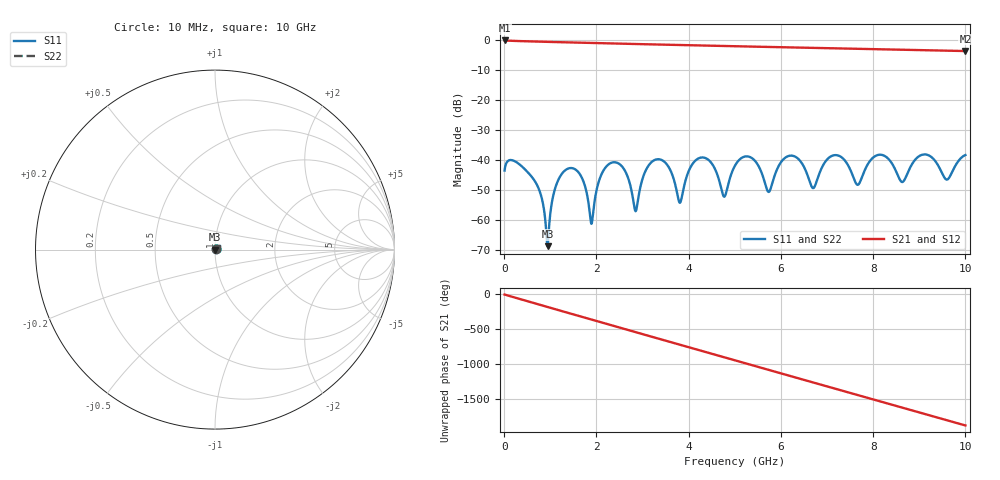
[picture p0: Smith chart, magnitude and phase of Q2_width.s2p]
! Touchstone generated by fitter/viewer
# HZ S  RI R 5.000000e+001
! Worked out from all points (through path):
!   1000 points, 10 MHz to 10 GHz, reference 50 ohm
!   highest |S21| = -0.06 dB at 10 MHz (marker M1); lowest = -3.6 dB at 10 GHz (marker M2)
!   group delay of S21, straight-line fit = 520 ps
!   lowest |S11| = -68.6 dB at 940 MHz (marker M3), VSWR 1.00, Z = 50 + j0.00202 ohm
!   |S11| at or under -10 dB: start of sweep to end of sweep
!   |S22| runs from -68.6 to -38.0 dB; largest |S21 - S12| = 0
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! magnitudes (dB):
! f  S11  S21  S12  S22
! 10 MHz  -43.4  -0.1  -0.1  -43.4
! 650 MHz  -46.6  -0.4  -0.4  -46.6
! 940 MHz  -68.6  -0.5  -0.5  -68.6
! 1.23 GHz  -45.0  -0.6  -0.6  -45.0
! 1.68 GHz  -45.6  -0.8  -0.8  -45.6
! 1.9 GHz  -61.0  -0.9  -0.9  -61.0
! 2.13 GHz  -44.0  -1.0  -1.0  -44.0
! 2.47 GHz  -40.9  -1.1  -1.1  -40.9
! 2.85 GHz  -57.0  -1.2  -1.2  -57.0
! 3.34 GHz  -39.6  -1.4  -1.4  -39.6
! 3.81 GHz  -54.2  -1.6  -1.6  -54.2
! 4.19 GHz  -39.5  -1.7  -1.7  -39.5
! 4.77 GHz  -52.1  -1.9  -1.9  -52.1
! 5.01 GHz  -41.6  -2.0  -2.0  -41.6
! 5.74 GHz  -50.5  -2.2  -2.2  -50.5
! 6.27 GHz  -38.5  -2.4  -2.4  -38.5
! 6.67 GHz  -48.8  -2.5  -2.5  -48.8
! 7.12 GHz  -38.4  -2.7  -2.7  -38.4
! 7.66 GHz  -48.2  -2.9  -2.9  -48.2
! 8.34 GHz  -39.7  -3.1  -3.1  -39.7
! 9.6 GHz  -46.4  -3.5  -3.5  -46.4
! 10 GHz  -38.2  -3.6  -3.6  -38.2
